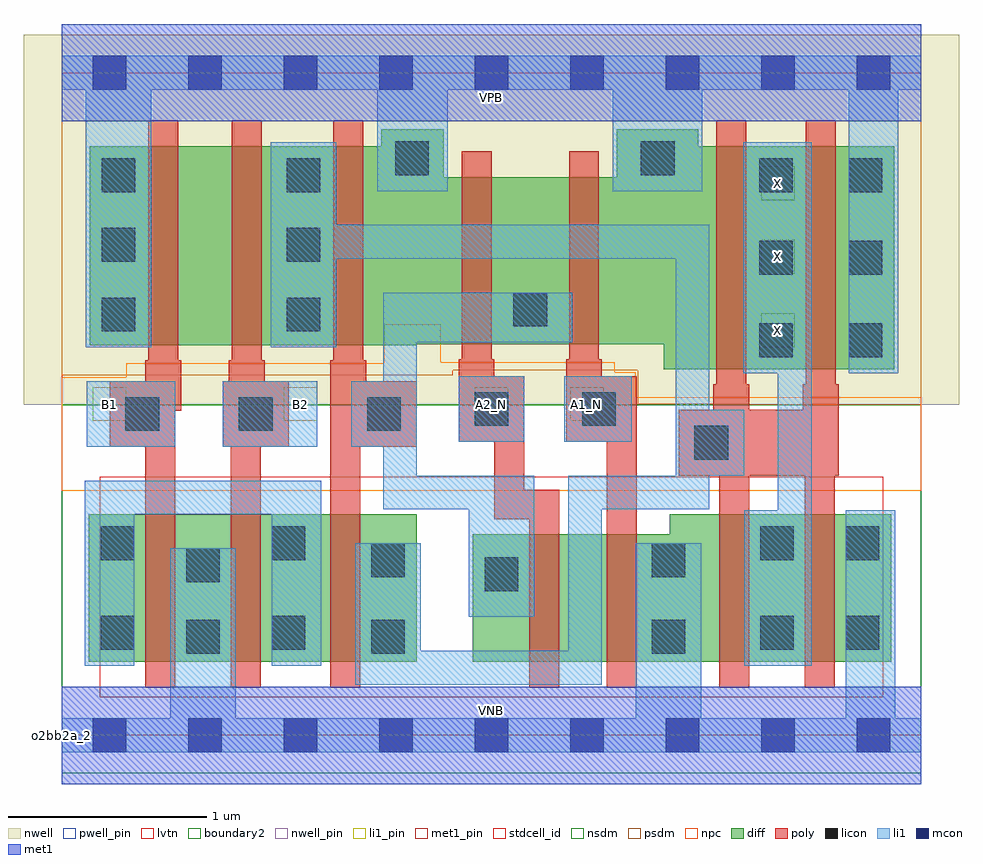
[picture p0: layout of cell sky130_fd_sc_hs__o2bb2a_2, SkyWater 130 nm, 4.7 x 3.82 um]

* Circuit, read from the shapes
.subckt sky130_fd_sc_hs__o2bb2a_2 A1_N A2_N B1 B2 VGND VNB VPB VPWR X
XM1 VGND B1 n1 VNB sky130_fd_pr__nfet_01v8_lvt w=0.74 l=0.15
XM2 n1 B2 VGND VNB sky130_fd_pr__nfet_01v8_lvt w=0.74 l=0.15
XM3 n2 n3 n1 VNB sky130_fd_pr__nfet_01v8_lvt w=0.74 l=0.15
XM4 n4 A2_N n3 VNB sky130_fd_pr__nfet_01v8_lvt w=0.64 l=0.15
XM5 VGND A1_N n4 VNB sky130_fd_pr__nfet_01v8_lvt w=0.64 l=0.15
XM6 X n2 VGND VNB sky130_fd_pr__nfet_01v8_lvt w=0.74 l=0.15 m=2
XM7 n5 B1 VPWR VPB sky130_fd_pr__pfet_01v8 w=1 l=0.15
XM8 n2 B2 n5 VPB sky130_fd_pr__pfet_01v8 w=1 l=0.15
XM9 VPWR n3 n2 VPB sky130_fd_pr__pfet_01v8 w=1 l=0.15
XM10 n3 A2_N VPWR VPB sky130_fd_pr__pfet_01v8 w=0.84 l=0.15
XM11 VPWR A1_N n3 VPB sky130_fd_pr__pfet_01v8 w=0.84 l=0.15
XM12 X n2 VPWR VPB sky130_fd_pr__pfet_01v8 w=1.12 l=0.15 m=2
.ends

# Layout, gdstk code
import gdstk
lib = gdstk.Library(unit=1e-6, precision=1e-09)
def R(c, l, rs):  # rectangles x0, y0, x1, y1
    for r in rs: c.add(gdstk.rectangle(r[:2], r[2:], *l))
def A(c, l, x, y, w, h, nx, ny, dx, dy):  # array of equal rectangles
    R(c, l, [(x+i*dx, y+j*dy, x+i*dx+w, y+j*dy+h) for i in range(nx) for j in range(ny)])
def P(c, l, *ps):  # polygons
    for p in ps: c.add(gdstk.Polygon(p, *l))
nwell_pin = (64, 16)
nwell = (64, 20)
diff = (65, 20)
poly = (66, 20)
licon = (66, 44)
li1_pin = (67, 16)
li1 = (67, 20)
mcon = (67, 44)
met1_pin = (68, 16)
met1 = (68, 20)
stdcell_id = (81, 4)
nsdm = (93, 44)
psdm = (94, 20)
npc = (95, 20)
pwell_pin = (122, 16)
lvtn = (125, 44)
boundary2 = (236, 0)

sky130_fd_sc_hs__o2bb2a_ = lib.new_cell('sky130_fd_sc_hs__o2bb2a_2')
R(sky130_fd_sc_hs__o2bb2a_, nwell_pin, [(0,3.085,4.32,3.33)])
R(sky130_fd_sc_hs__o2bb2a_, nwell, [(-0.19,1.66,4.51,3.52)])
R(sky130_fd_sc_hs__o2bb2a_, diff, [(0.135,0.37,1.785,1.11)])
P(sky130_fd_sc_hs__o2bb2a_, diff, [(4.17,1.11),(3.055,1.11),(3.055,1.01),(2.065,1.01),(2.065,0.37),(4.17,0.37)],
  [(4.185,2.96),(3.2,2.96),(3.2,3.045),(2.79,3.045),(2.79,2.805),(1.92,2.805),(1.92,3.045),(1.605,3.045),(1.605,2.96),(0.14,2.96),(0.14,1.96),(1.78,1.96),(1.78,1.965),(3.025,1.965),(3.025,1.84),(4.185,1.84)])
P(sky130_fd_sc_hs__o2bb2a_, poly, [(3.905,1.765),(3.89,1.765),(3.89,3.09),(3.74,3.09),(3.74,1.765),(3.725,1.765),(3.725,1.635),(3.455,1.635),(3.455,1.765),(3.44,1.765),(3.44,3.09),(3.29,3.09),(3.29,1.765),(3.275,1.765),(3.275,1.635),(3.1,1.635),(3.1,1.305),(3.305,1.305),(3.305,0.24),(3.455,0.24),(3.455,1.305),(3.735,1.305),(3.735,0.24),(3.885,0.24),(3.885,1.305),(3.905,1.305)],
  [(2.89,1.805),(2.715,1.805),(2.715,1.89),(2.7,1.89),(2.7,2.935),(2.55,2.935),(2.55,1.89),(2.535,1.89),(2.535,1.475),(2.74,1.475),(2.74,0.24),(2.89,0.24)],
  [(2.5,1.235),(2.325,1.235),(2.325,1.805),(2.175,1.805),(2.175,1.89),(2.16,1.89),(2.16,2.935),(2.01,2.935),(2.01,1.89),(1.995,1.89),(1.995,1.475),(2.175,1.475),(2.175,1.085),(2.35,1.085),(2.35,0.24),(2.5,0.24)],
  [(1.785,1.78),(1.53,1.78),(1.53,1.885),(1.515,1.885),(1.515,3.09),(1.365,3.09),(1.365,1.885),(1.35,1.885),(1.35,0.24),(1.5,0.24),(1.5,1.45),(1.785,1.45)],
  [(1.14,1.78),(1.02,1.78),(1.02,1.885),(1.005,1.885),(1.005,3.09),(0.855,3.09),(0.855,1.885),(0.84,1.885),(0.84,1.78),(0.81,1.78),(0.81,1.45),(0.85,1.45),(0.85,0.24),(1,0.24),(1,1.45),(1.14,1.45)],
  [(0.6,1.885),(0.585,1.885),(0.585,3.09),(0.435,3.09),(0.435,1.885),(0.42,1.885),(0.42,1.78),(0.24,1.78),(0.24,1.45),(0.42,1.45),(0.42,0.24),(0.57,0.24),(0.57,1.63),(0.6,1.63)])
A(sky130_fd_sc_hs__o2bb2a_, licon, 3.505, 1.9, 0.17, 0.17, 1, 3, 0, 0.415)
A(sky130_fd_sc_hs__o2bb2a_, licon, 3.955, 1.9, 0.17, 0.17, 1, 3, 0, 0.415)
A(sky130_fd_sc_hs__o2bb2a_, licon, 0.2, 2.03, 0.17, 0.17, 1, 3, 0, 0.35)
A(sky130_fd_sc_hs__o2bb2a_, licon, 1.13, 2.03, 0.17, 0.17, 1, 3, 0, 0.35)
R(sky130_fd_sc_hs__o2bb2a_, licon, [(0.625,0.41,0.795,0.58), (1.555,0.41,1.725,0.58), (2.965,0.41,3.135,0.58), (0.195,0.43,0.365,0.6), (1.055,0.43,1.225,0.6), (3.51,0.43,3.68,0.6), (3.94,0.43,4.11,0.6), (2.125,0.725,2.295,0.895), (0.625,0.77,0.795,0.94), (1.555,0.795,1.725,0.965), (2.965,0.795,3.135,0.965), (0.195,0.88,0.365,1.05), (1.055,0.88,1.225,1.05), (3.51,0.88,3.68,1.05), (3.94,0.88,4.11,1.05), (3.18,1.385,3.35,1.555), (0.32,1.53,0.49,1.7), (0.89,1.53,1.06,1.7), (1.535,1.53,1.705,1.7), (2.075,1.555,2.245,1.725), (2.615,1.555,2.785,1.725), (2.27,2.055,2.44,2.225), (1.675,2.815,1.845,2.985), (2.91,2.815,3.08,2.985)])
A(sky130_fd_sc_hs__o2bb2a_, li1_pin, 0.155, 1.58, 0.17, 0.17, 3, 1, 0.96, 0)
A(sky130_fd_sc_hs__o2bb2a_, li1_pin, 3.515, 1.95, 0.17, 0.17, 1, 3, 0, 0.37)
R(sky130_fd_sc_hs__o2bb2a_, li1_pin, [(2.555,1.58,2.725,1.75)])
R(sky130_fd_sc_hs__o2bb2a_, li1, [(0.125,1.45,0.57,1.78), (0.81,1.45,1.285,1.78), (1.995,1.475,2.325,1.805), (2.525,1.475,2.865,1.805)])
P(sky130_fd_sc_hs__o2bb2a_, li1, [(0,-0.085),(0,0.085),(0.545,0.085),(0.545,0.94),(0.875,0.94),(0.875,0.085),(2.885,0.085),(2.885,0.965),(3.215,0.965),(3.215,0.085),(3.94,0.085),(3.94,1.13),(4.19,1.13),(4.19,0.085),(4.32,0.085),(4.32,-0.085)],
  [(0,3.245),(0,3.415),(4.32,3.415),(4.32,3.245),(4.205,3.245),(4.205,1.82),(3.955,1.82),(3.955,3.245),(3.22,3.245),(3.22,2.735),(2.77,2.735),(2.77,3.245),(1.94,3.245),(1.94,2.735),(1.585,2.735),(1.585,3.245),(0.45,3.245),(0.45,1.95),(0.12,1.95),(0.12,3.245)],
  [(3.425,1.82),(3.425,2.98),(3.77,2.98),(3.77,0.35),(3.43,0.35),(3.43,1.13),(3.6,1.13),(3.6,1.82)],
  [(1.615,1.135),(1.615,1.45),(1.455,1.45),(1.455,1.78),(1.615,1.78),(1.615,2.225),(2.565,2.225),(2.565,1.975),(1.785,1.975),(1.785,1.305),(2.375,1.305),(2.375,0.595),(2.045,0.595),(2.045,1.135)],
  [(1.055,0.35),(1.055,1.11),(0.365,1.11),(0.365,0.35),(0.115,0.35),(0.115,1.28),(1.305,1.28),(1.305,0.35)],
  [(2.545,0.425),(2.545,1.305),(3.085,1.305),(3.085,2.395),(1.38,2.395),(1.38,1.95),(1.05,1.95),(1.05,2.98),(1.38,2.98),(1.38,2.565),(3.255,2.565),(3.255,1.635),(3.43,1.635),(3.43,1.305),(3.255,1.305),(3.255,1.135),(2.715,1.135),(2.715,0.255),(1.475,0.255),(1.475,0.965),(1.805,0.965),(1.805,0.425)])
A(sky130_fd_sc_hs__o2bb2a_, mcon, 0.155, -0.085, 0.17, 0.17, 9, 2, 0.48, 3.33)
R(sky130_fd_sc_hs__o2bb2a_, met1_pin, [(0,0,4.32,0.245), (0,3.085,4.32,3.33)])
R(sky130_fd_sc_hs__o2bb2a_, met1, [(0,-0.245,4.32,0.245), (0,3.085,4.32,3.575)])
R(sky130_fd_sc_hs__o2bb2a_, stdcell_id, [(0,0,4.32,3.33)])
R(sky130_fd_sc_hs__o2bb2a_, nsdm, [(0,-0.19,4.32,1.66)])
P(sky130_fd_sc_hs__o2bb2a_, psdm, [(4.32,3.52),(0,3.52),(0,1.81),(1.965,1.81),(1.965,1.835),(2.895,1.835),(2.895,1.665),(3.46,1.665),(3.46,1.66),(4.32,1.66)])
P(sky130_fd_sc_hs__o2bb2a_, npc, [(4.32,1.7),(2.885,1.7),(2.885,1.825),(2.78,1.825),(2.78,1.875),(1.905,1.875),(1.905,2.065),(1.62,2.065),(1.62,1.87),(0.325,1.87),(0.325,1.8),(0,1.8),(0,1.23),(4.32,1.23)])
R(sky130_fd_sc_hs__o2bb2a_, pwell_pin, [(0,0,4.32,0.245)])
R(sky130_fd_sc_hs__o2bb2a_, lvtn, [(0.19,0.19,4.13,1.3)])
R(sky130_fd_sc_hs__o2bb2a_, boundary2, [(0,0,4.32,3.33)])
sky130_fd_sc_hs__o2bb2a_.add(gdstk.Label('o2bb2a_2', (0,0), layer=83, texttype=44))
sky130_fd_sc_hs__o2bb2a_.add(gdstk.Label('VNB', (2.16,0.123), layer=64, texttype=59))
sky130_fd_sc_hs__o2bb2a_.add(gdstk.Label('VPB', (2.16,3.208), layer=64, texttype=5))
sky130_fd_sc_hs__o2bb2a_.add(gdstk.Label('VPWR', (2.16,3.208), layer=68, texttype=5))
sky130_fd_sc_hs__o2bb2a_.add(gdstk.Label('VGND', (2.16,0.123), layer=68, texttype=5))
sky130_fd_sc_hs__o2bb2a_.add(gdstk.Label('A1_N', (2.64,1.665), layer=67, texttype=5))
sky130_fd_sc_hs__o2bb2a_.add(gdstk.Label('A2_N', (2.16,1.665), layer=67, texttype=5))
sky130_fd_sc_hs__o2bb2a_.add(gdstk.Label('X', (3.6,2.035), layer=67, texttype=5))
sky130_fd_sc_hs__o2bb2a_.add(gdstk.Label('X', (3.6,2.405), layer=67, texttype=5))
sky130_fd_sc_hs__o2bb2a_.add(gdstk.Label('X', (3.6,2.775), layer=67, texttype=5))
sky130_fd_sc_hs__o2bb2a_.add(gdstk.Label('B1', (0.24,1.665), layer=67, texttype=5))
sky130_fd_sc_hs__o2bb2a_.add(gdstk.Label('B2', (1.2,1.665), layer=67, texttype=5))

lib.write_gds('sky130_fd_sc_hs__o2bb2a_2.gds')
